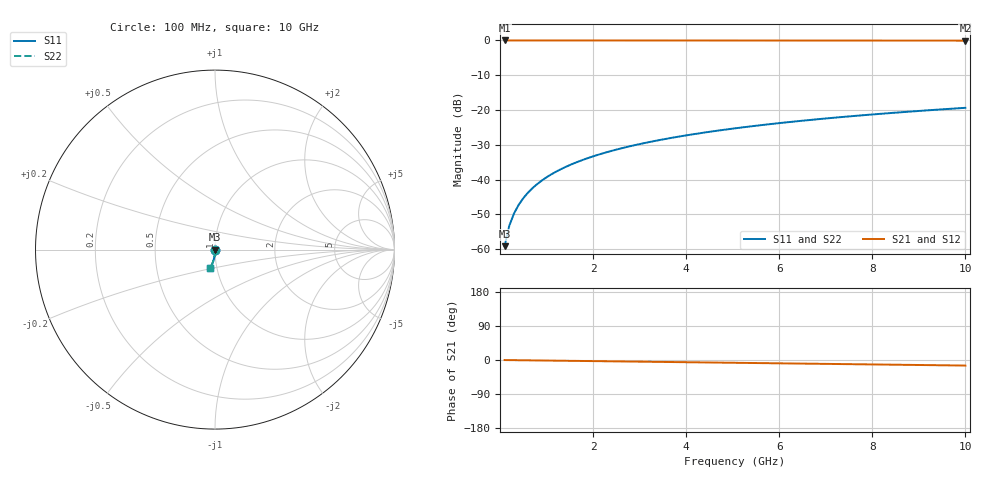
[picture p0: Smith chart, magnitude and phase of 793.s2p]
# Hz S RI R 50.00
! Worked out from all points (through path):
!   100 points, 100 MHz to 10 GHz, reference 50 ohm
!   highest |S21| = 0.00 dB at 100 MHz (marker M1); lowest = -0.1 dB at 10 GHz (marker M2)
!   group delay of S21, straight-line fit = 4.07 ps
!   lowest |S11| = -59.2 dB at 100 MHz (marker M3), VSWR 1.00, Z = 50 - j0.108 ohm
!   |S11| at or under -10 dB: start of sweep to end of sweep
!   |S22| runs from -59.2 to -19.4 dB; largest |S21 - S12| = 0
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1e8  0.000239 -0.00108  0.9997 -0.00253  0.9997 -0.00253  0.000239 -0.00108
2e8  0.000231 -0.00215  0.9997 -0.00507  0.9997 -0.00507  0.000231 -0.00215
3e8  0.000217 -0.00323  0.9997 -0.0076  0.9997 -0.0076  0.000217 -0.00323
4e8  0.000197 -0.00431  0.9997 -0.0101  0.9997 -0.0101  0.000197 -0.00431
5e8  0.000172 -0.00538  0.9996 -0.0127  0.9996 -0.0127  0.000172 -0.00538
6e8  0.000141 -0.00646  0.9996 -0.0152  0.9996 -0.0152  0.000141 -0.00646
7e8  0.000104 -0.00754  0.9996 -0.0177  0.9996 -0.0177  0.000104 -0.00754
8e8  6.21e-05 -0.00861  0.9995 -0.0203  0.9995 -0.0203  6.21e-05 -0.00861
9e8  1.46e-05 -0.00969  0.9994 -0.0228  0.9994 -0.0228  1.46e-05 -0.00969
1.1e9  -9.71e-05 -0.0118  0.9993 -0.0279  0.9993 -0.0279  -9.71e-05 -0.0118
1.4e9  -0.000306 -0.0151  0.999 -0.0355  0.999 -0.0355  -0.000306 -0.0151
1.8e9  -0.000661 -0.0194  0.9985 -0.0456  0.9985 -0.0456  -0.000661 -0.0194
2.1e9  -0.000985 -0.0226  0.998 -0.0533  0.998 -0.0533  -0.000985 -0.0226
2.5e9  -0.00149 -0.0269  0.9973 -0.0634  0.9973 -0.0634  -0.00149 -0.0269
2.9e9  -0.00209 -0.0312  0.9965 -0.0736  0.9965 -0.0736  -0.00209 -0.0312
3.4e9  -0.00296 -0.0366  0.9953 -0.0862  0.9953 -0.0862  -0.00296 -0.0366
4.2e9  -0.00464 -0.0451  0.9929 -0.1065  0.9929 -0.1065  -0.00464 -0.0451
5.1e9  -0.00695 -0.0546  0.9897 -0.1293  0.9897 -0.1293  -0.00695 -0.0546
5.9e9  -0.00938 -0.063  0.9863 -0.1495  0.9863 -0.1495  -0.00938 -0.063
6.7e9  -0.0121 -0.0713  0.9825 -0.1696  0.9825 -0.1696  -0.0121 -0.0713
8.4e9  -0.0192 -0.0885  0.9726 -0.212  0.9726 -0.212  -0.0192 -0.0885
1e10  -0.0271 -0.104  0.9614 -0.2515  0.9614 -0.2515  -0.0271 -0.104
